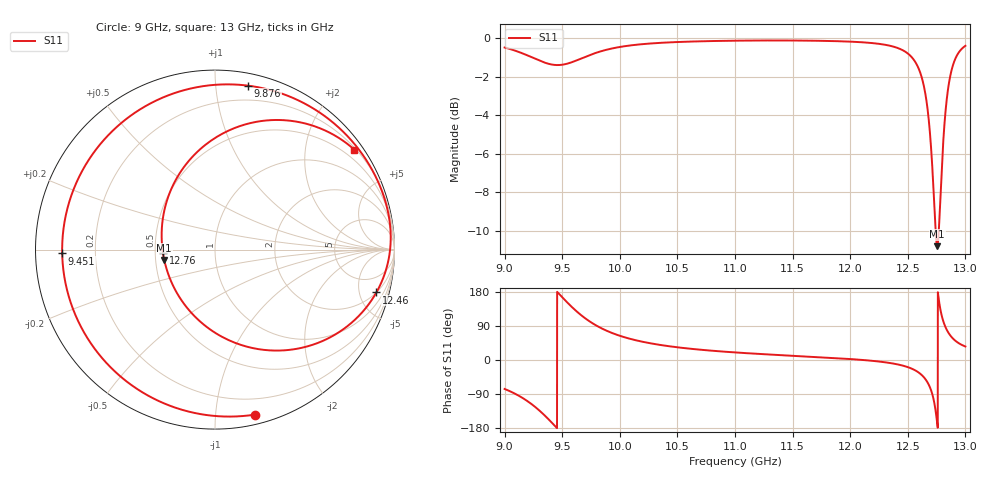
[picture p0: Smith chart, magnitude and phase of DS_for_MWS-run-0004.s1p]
! TOUCHSTONE file generated by CST DESIGN STUDIO
! Date and time: Tue Feb  4 13:24:49 2025
! Project name: C:\Work\MatlabApps\UnitCellOptimizationMatlab\CST\unitcell.cst
! Tree item: Tasks\Sweep1\SPara1\S-Parameters
! Header version: 2024
! Port assignment regex: !\s*Touchstone port\s*([0-9]+)\s*=\s*(CST MWS port|CST DES external port|CST DES block port)\s*(.+)\s* \(\"(.*)\"\)(\s*mode\s*([0-9]+))?.*
! Touchstone port assignment:
! Touchstone port 1 = CST DES external port 1 ("")
# GHz S MA R 50
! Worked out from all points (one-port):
!   4001 points, 9 GHz to 13 GHz, reference 50 ohm
!   lowest |S11| = -10.8 dB at 12.76 GHz (marker M1), VSWR 1.81, Z = 27.8 - j3.48 ohm
!   |S11| at or under -10 dB: 12.74157 GHz to 12.76909 GHz (27.52 MHz wide, 0.216 % of centre)
!   S11 on the Smith chart (normalised r, x): 9 GHz: 0.07, -1.27; 9.451 GHz: 0.08, -0.01; 9.876 GHz: 0.09, +1.22; 12.46 GHz: 2.01, -7.12; 12.76 GHz: 0.55, -0.02; 13 GHz: 0.24, +3.10
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9  0.9459 -76.4
9.137  0.9178 -96.7
9.244  0.89 -118.7
9.363  0.8613 -150.8
9.451  0.8517 -178.5
9.5  0.8533 165.6
9.59  0.8677 138.1
9.673  0.8878 116.2
9.764  0.9099 96.8
9.876  0.9319 78.6
10  0.9489 63.9
10.215  0.9662 47.0
10.5  0.9773 33.5
11  0.9852 20.0
11.5  0.9863 11.2
12  0.9796 2.6
12.457  0.9303 -14.9
12.5  0.9127 -18.8
12.605  0.8185 -35.5
12.679  0.6259 -63.4
12.718  0.4335 -96.1
12.756  0.2885 -168.5
12.759  0.2903 -176.1
12.78  0.3693 138.3
12.804  0.5163 106.3
12.843  0.7138 76.9
12.913  0.885 50.8
13  0.9555 35.6
